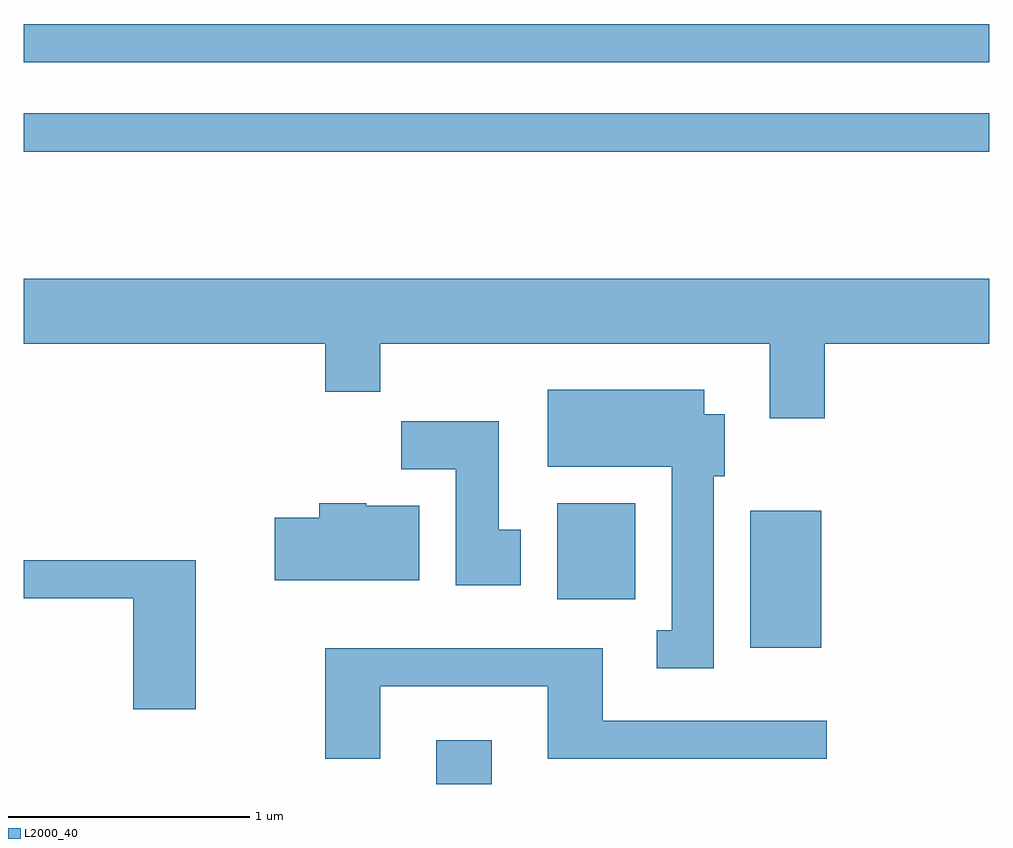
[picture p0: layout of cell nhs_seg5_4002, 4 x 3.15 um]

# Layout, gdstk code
import gdstk
lib = gdstk.Library(unit=1e-6, precision=1e-09)
def R(c, l, rs):  # rectangles x0, y0, x1, y1
    for r in rs: c.add(gdstk.rectangle(r[:2], r[2:], *l))
def P(c, l, *ps):  # polygons
    for p in ps: c.add(gdstk.Polygon(p, *l))
L2000_40 = (2000, 40)

nhs_seg5_4002 = lib.new_cell('nhs_seg5_4002')
R(nhs_seg5_4002, L2000_40, [(305.321,1466.072,305.549,1466.254), (306.621,1466.636,306.914,1467.204), (305.821,1466.836,306.144,1467.234), (303.611,1468.691,307.611,1468.849), (303.611,1469.061,307.611,1469.219)])
P(nhs_seg5_4002, L2000_40, [(306.929,1467.896),(307.611,1467.896),(307.611,1468.164),(303.611,1468.164),(303.611,1467.896),(304.861,1467.896),(304.861,1467.696),(305.089,1467.696),(305.089,1467.896),(306.701,1467.896),(306.701,1467.586),(306.929,1467.586)],
  [(306.469,1467.346),(306.514,1467.346),(306.514,1467.604),(306.429,1467.604),(306.429,1467.704),(305.781,1467.704),(305.781,1467.386),(306.296,1467.386),(306.296,1466.709),(306.233,1466.709),(306.233,1466.551),(306.469,1466.551)],
  [(305.669,1467.124),(305.579,1467.124),(305.579,1467.574),(305.176,1467.574),(305.176,1467.376),(305.401,1467.376),(305.401,1466.896),(305.669,1466.896)],
  [(305.249,1467.224),(305.03,1467.224),(305.03,1467.234),(304.836,1467.234),(304.836,1467.174),(304.651,1467.174),(304.651,1466.916),(305.249,1466.916)],
  [(304.324,1466.999),(303.611,1466.999),(303.611,1466.841),(304.066,1466.841),(304.066,1466.381),(304.324,1466.381)],
  [(305.089,1466.476),(305.781,1466.476),(305.781,1466.176),(306.938,1466.176),(306.938,1466.334),(306.009,1466.334),(306.009,1466.634),(304.861,1466.634),(304.861,1466.176),(305.089,1466.176)])

lib.write_gds('nhs_seg5_4002.gds')
